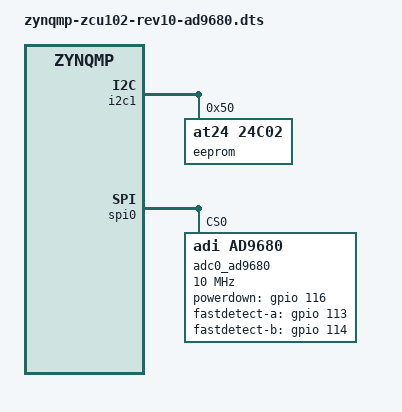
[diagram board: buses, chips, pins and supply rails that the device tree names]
// SPDX-License-Identifier: GPL-2.0
/*
 * Analog Devices AD9695 / AD9689 ANALOG-TO-DIGITAL CONVERTER
 * https://wiki.analog.com/resources/eval/ad9208-3000ebz
 * https://wiki.analog.com/resources/tools-software/linux-drivers/iio-adc/ad9208
 *
 * hdl_project: <ad9695_fmc/zcu102>
 * board_revision: <>
 *
 * Copyright (C) 2019-2022 Analog Devices Inc.
 */

#include "zynqmp-zcu102-rev1.0.dts"
#include <dt-bindings/interrupt-controller/irq.h>
#include <dt-bindings/iio/adc/adi,ad9208.h>
#include <dt-bindings/jesd204/adxcvr.h>

&i2c1 {
	i2c-mux@75 {
		i2c@0 {
			#address-cells = <1>;
			#size-cells = <0>;
			reg = <0>;

			eeprom@50 {
				compatible = "at24,24c02";
				reg = <0x50>;
			};
		};
	};
};

/ {
	clocks {
		ad9680_clkin: clock@0 {
			#clock-cells = <0>;
			compatible = "adjustable-clock";
			clock-frequency = <1000000000>;
			clock-accuracy = <1000000000>;
			clock-output-names = "ad9680_clk";
		};
		device_clk: clock@1 {
			#clock-cells = <0>;
			compatible = "adjustable-clock";
			clock-frequency = <250000000>;
			clock-accuracy = <1000000000>;
			clock-output-names = "dev_clk";
		};
		sysref: clock@2 {
			#clock-cells = <0>;
			compatible = "adjustable-clock";
			clock-frequency = <7812500>;
			clock-accuracy = <1000000000>;
			clock-output-names = "adc_sysref";
		};
	};
	fpga_axi: fpga-axi@0 {
		interrupt-parent = <&gic>;
		compatible = "simple-bus";
		#address-cells = <0x1>;
		#size-cells = <0x1>;
		ranges = <0 0 0 0xffffffff>;

		rx_dma: rx-dmac@9c400000 {
			#dma-cells = <1>;
			compatible = "adi,axi-dmac-1.00.a";
			reg = <0x9c400000 0x1000>;
			interrupts = <0 109 IRQ_TYPE_LEVEL_HIGH>;
			clocks = <&zynqmp_clk 71>;
		};

		axi_ad9680_core: axi-ad9680-hpc@84a00000 {
			compatible = "adi,axi-ad9680-1.0";
			reg = <0x84a00000 0x2000>;
			dmas = <&rx_dma 0>;
			dma-names = "rx";
			spibus-connected = <&adc0_ad9680>;

		};

		axi_ad9680_jesd: axi-jesd204-rx@84aa0000 {
			compatible = "adi,axi-jesd204-rx-1.0";
			reg = <0x84aa0000 0x4000>;
			interrupts = <0 108 IRQ_TYPE_LEVEL_HIGH>;

			clocks = <&zynqmp_clk 71>, <&device_clk>, <&axi_ad9680_adxcvr 0>;
			clock-names = "s_axi_aclk", "device_clk", "lane_clk";

			adi,octets-per-frame = <1>;
			adi,frames-per-multiframe = <32>;
			adi,subclass = <1>;

			#clock-cells = <0>;
			clock-output-names = "jesd_adc_lane_clk";
		};

		axi_ad9680_adxcvr: axi-adxcvr-rx@84a60000 {
			compatible = "adi,axi-adxcvr-1.0";
			reg = <0x84a60000 0x10000>;

			clocks = <&device_clk>, <&device_clk>;
			clock-names = "conv", "div40";

			adi,sys-clk-select = <XCVR_QPLL>;
			adi,out-clk-select = <XCVR_REFCLK>;
			adi,use-lpm-enable;

			#clock-cells = <1>;
			clock-output-names = "adc_gt_clk", "rx_out_clk";
		};

		axi_sysid_0: axi-sysid-0@85000000 {
			compatible = "adi,axi-sysid-1.00.a";
			reg = <0x85000000 0x2000>;
		};
	};
};
&spi0 {
	status = "okay";
	adc0_ad9680: ad9680@0 {
		#address-cells = <1>;
		#size-cells = <0>;
		compatible = "adi,ad9680";
		
		powerdown-gpios = <&gpio 116 0>;
		fastdetect-a-gpios = <&gpio 113 0>;
		fastdetect-b-gpios = <&gpio 114 0>;

		spi-cpol;
		spi-cpha;
		spi-max-frequency = <10000000>;
		adi,spi-3wire-enable;
		reg = <0>;

		/* Content of Registers: 0x16, 0x18, 0x19, 0x1A, 0x30, 0x11A, 0x934, 0x935 */
		adi,sfdr-optimization-config = <0xE 0xA0 0x50 0x09 0x18 0x00 0x1F 0x04>;

		clocks = <&axi_ad9680_jesd>, <&ad9680_clkin>, <&sysref>;
		clock-names = "jesd_adc_clk", "adc_clk", "adc_sysref";


		adi,powerdown-mode = <AD9208_PDN_MODE_POWERDOWN>;

		adi,sampling-frequency = /bits/ 64 <1000000000>;
		adi,input-clock-divider-ratio = <1>;

		adi,sysref-lmfc-offset = <0>;
		adi,sysref-pos-window-skew = <0>;
		adi,sysref-neg-window-skew = <0>;
		adi,sysref-mode = <AD9208_SYSREF_CONT>;
		adi,sysref-nshot-ignore-count = <0>;

		/* JESD204 parameters */

		adi,converters-per-device = <2>;	/* JESD204 (M) */
		adi,lanes-per-device = <4>;		/* JESD204 (L) */
		adi,octets-per-frame = <1>;		/* JESD204 (F) */
		adi,frames-per-multiframe = <32>;	/* JESD204 (K) */
		adi,converter-resolution = <14>;	/* JESD204 (N) */
		adi,bits-per-sample = <16>;		/* JESD204 (N') */
		adi,control-bits-per-sample = <2>;	/* JESD204 (CS) */
		adi,subclass = <1>;			/* JESD204 (SUBCLASSV) */

		/* DDC setup */

		adi,ddc-channel-number = <AD9208_FULL_BANDWIDTH_MODE>;

		ad9208_ddc0: channel@0 {
			reg = <0>;
			adi,decimation = <2>;
			adi,nco-mode-select = <AD9208_NCO_MODE_VIF>;
			adi,nco-channel-carrier-frequency-hz = /bits/ 64 <70000000>;
			adi,nco-channel-phase-offset = /bits/ 64 <0>;
		};
	};
};
